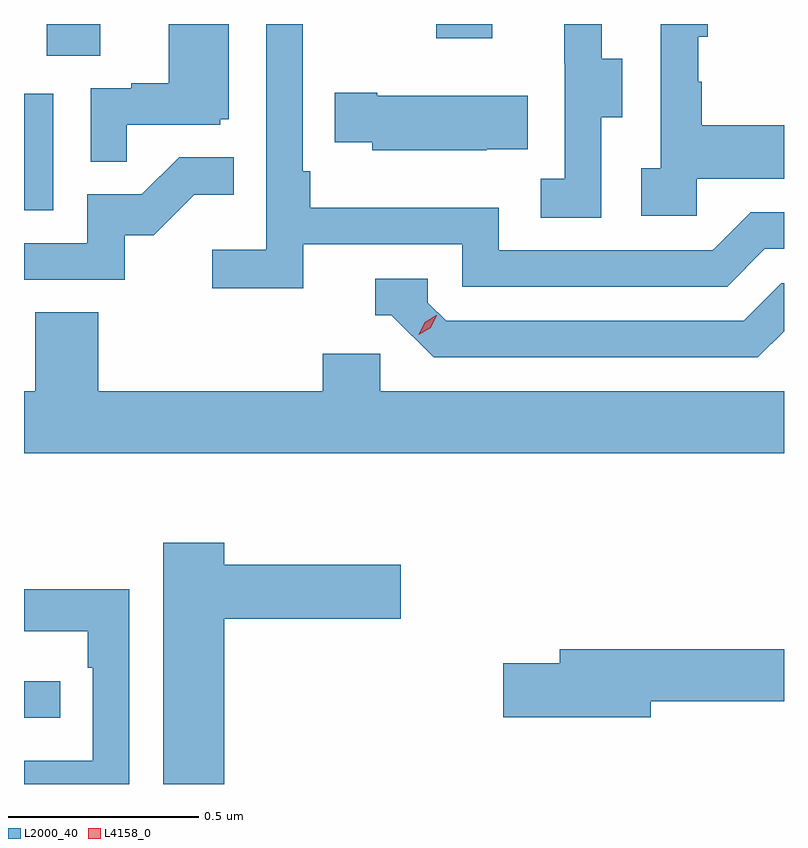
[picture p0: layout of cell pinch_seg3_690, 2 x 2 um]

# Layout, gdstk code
import gdstk
lib = gdstk.Library(unit=1e-6, precision=1e-09)
def R(c, l, rs):  # rectangles x0, y0, x1, y1
    for r in rs: c.add(gdstk.rectangle(r[:2], r[2:], *l))
def P(c, l, *ps):  # polygons
    for p in ps: c.add(gdstk.Polygon(p, *l))
L2000_40 = (2000, 40)
L4158_0 = (4158, 0)

pinch_seg3_690 = lib.new_cell('pinch_seg3_690')
R(pinch_seg3_690, L2000_40, [(1130.219,673.581,1130.314,673.677), (1130.219,674.916,1130.296,675.223), (1130.279,675.322,1130.419,675.406), (1131.304,675.369,1131.451,675.406)])
P(pinch_seg3_690, L2000_40, [(1130.489,675.141),(1130.736,675.141),(1130.736,675.156),(1130.758,675.156),(1130.758,675.406),(1130.6,675.406),(1130.6,675.25),(1130.501,675.25),(1130.501,675.237),(1130.394,675.237),(1130.394,675.043),(1130.489,675.043)],
  [(1131.99,674.999),(1132.219,674.999),(1132.219,675.139),(1132.003,675.139),(1132.003,675.254),(1131.993,675.254),(1131.993,675.372),(1132.018,675.372),(1132.018,675.406),(1131.894,675.406),(1131.894,675.026),(1131.843,675.026),(1131.843,674.901),(1131.99,674.901)],
  [(1131.738,675.16),(1131.793,675.16),(1131.793,675.315),(1131.739,675.315),(1131.739,675.406),(1131.641,675.406),(1131.641,675.303),(1131.642,675.303),(1131.642,674.999),(1131.579,674.999),(1131.579,674.896),(1131.738,674.896)],
  [(1130.954,674.826),(1131.372,674.826),(1131.372,674.715),(1132.069,674.715),(1132.168,674.814),(1132.219,674.814),(1132.219,674.91),(1132.131,674.91),(1132.032,674.811),(1131.468,674.811),(1131.468,674.923),(1130.972,674.923),(1130.972,675.019),(1130.952,675.019),(1130.952,675.406),(1130.856,675.406),(1130.856,674.812),(1130.715,674.812),(1130.715,674.71),(1130.954,674.71)],
  [(1131.437,675.077),(1131.545,675.077),(1131.545,675.217),(1131.148,675.217),(1131.148,675.225),(1131.037,675.225),(1131.037,675.095),(1131.135,675.095),(1131.135,675.074),(1131.437,675.074)],
  [(1130.484,674.85),(1130.56,674.85),(1130.667,674.957),(1130.771,674.957),(1130.771,675.056),(1130.627,675.056),(1130.529,674.958),(1130.385,674.958),(1130.385,674.829),(1130.219,674.829),(1130.219,674.733),(1130.484,674.733)],
  [(1132.219,674.598),(1132.219,674.724),(1132.212,674.724),(1132.113,674.625),(1131.33,674.625),(1131.282,674.673),(1131.282,674.736),(1131.143,674.736),(1131.143,674.64),(1131.186,674.64),(1131.297,674.529),(1132.15,674.529)],
  [(1132.219,674.44),(1131.156,674.44),(1131.156,674.538),(1131.005,674.538),(1131.005,674.44),(1130.414,674.44),(1130.414,674.648),(1130.249,674.648),(1130.249,674.44),(1130.219,674.44),(1130.219,674.276),(1132.219,674.276)],
  [(1130.746,673.841),(1131.211,673.841),(1131.211,673.983),(1130.746,673.983),(1130.746,674.041),(1130.585,674.041),(1130.585,673.406),(1130.746,673.406)],
  [(1130.496,673.918),(1130.219,673.918),(1130.219,673.808),(1130.387,673.808),(1130.387,673.712),(1130.4,673.712),(1130.4,673.467),(1130.219,673.467),(1130.219,673.406),(1130.496,673.406)],
  [(1131.868,673.624),(1132.219,673.624),(1132.219,673.76),(1131.629,673.76),(1131.629,673.724),(1131.48,673.724),(1131.48,673.582),(1131.868,673.582)])
P(pinch_seg3_690, L4158_0, [(1131.258,674.588),(1131.258,674.588),(1131.274,674.621),(1131.304,674.64),(1131.305,674.64),(1131.305,674.64),(1131.289,674.607),(1131.258,674.588)])

lib.write_gds('pinch_seg3_690.gds')
